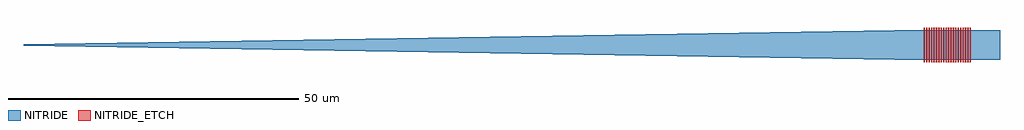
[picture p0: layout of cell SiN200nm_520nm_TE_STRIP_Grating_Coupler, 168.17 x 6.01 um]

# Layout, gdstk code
import gdstk
lib = gdstk.Library(unit=1e-6, precision=1e-09)
def R(c, l, rs):  # rectangles x0, y0, x1, y1
    for r in rs: c.add(gdstk.rectangle(r[:2], r[2:], *l))
def A(c, l, x, y, w, h, nx, ny, dx, dy):  # array of equal rectangles
    R(c, l, [(x+i*dx, y+j*dy, x+i*dx+w, y+j*dy+h) for i in range(nx) for j in range(ny)])
def P(c, l, *ps):  # polygons
    for p in ps: c.add(gdstk.Polygon(p, *l))
NITRIDE = (203, 0)
NITRIDE_ETCH = (204, 0)

sin200nm_520nm_te_strip_ = lib.new_cell('SiN200nm_520nm_TE_STRIP_Grating_Coupler')
R(sin200nm_520nm_te_strip_, NITRIDE, [(150,-2.5,168.166,2.5)])
P(sin200nm_520nm_te_strip_, NITRIDE, [(150,-2.5),(0,-0.135),(0,0.135),(150,2.5)])
A(sin200nm_520nm_te_strip_, NITRIDE_ETCH, 155.035, -3.003, 0.208, 6.006, 20, 1, 0.417, 0)

lib.write_gds('SiN200nm_520nm_TE_STRIP_Grating_Coupler.gds')
